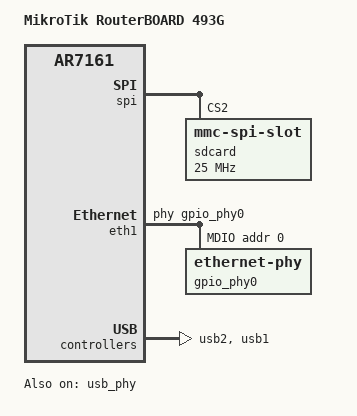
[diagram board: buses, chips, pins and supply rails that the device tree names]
// SPDX-License-Identifier: GPL-1.0-or-later OR MIT
/dts-v1/;

#include "ar7100_mikrotik_routerboard-4xx.dtsi"

/ {
	compatible = "mikrotik,routerboard-493g", "qca,ar7161";
	model = "MikroTik RouterBOARD 493G";

	aliases {
		mdio-gpio0 = &mdio_gpio0;
	};
};

&spi {
	sdcard: mmc-slot@2 {
		compatible = "mmc-spi-slot";

		reg = <2>;
		spi-max-frequency = <25000000>;
	};
};

&eth1 {
	status = "okay";

	phy-handle = <&gpio_phy0>;

	mdio_gpio0: mdio-gpio {
		compatible = "virtual,mdio-gpio";
		#address-cells = <1>;
		#size-cells = <0>;

		gpios = <&gpio 7 GPIO_ACTIVE_HIGH>, // MDC
			<&gpio 8 GPIO_ACTIVE_HIGH>; // MDIO

		gpio_phy0: ethernet-phy@0 {
			reg = <0>;
		};
	};
};

&usb_phy {
	status = "okay";
};

&usb2 {
	status = "okay";
};

&usb1 {
	status = "okay";
};
